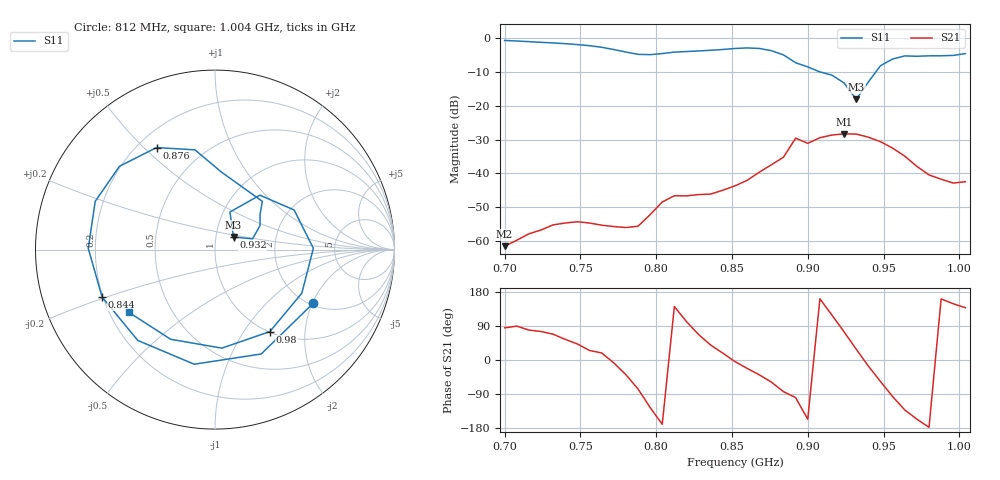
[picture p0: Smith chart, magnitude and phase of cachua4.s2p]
# Hz S RI R 50
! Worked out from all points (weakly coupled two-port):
!   39 points, 700 MHz to 1.004 GHz, reference 50 ohm
!   highest |S21| = -28.31 dB at 924 MHz (marker M1); lowest = -61.5 dB at 700 MHz (marker M2)
!   lowest |S11| = -18.1 dB at 932 MHz (marker M3), VSWR 1.28, Z = 60.9 + j8.62 ohm
!   |S11| at or under -10 dB: 908.4 MHz to 944.9 MHz (36.5 MHz wide, 3.94 % of centre)
!   S12 and S22 are empty: the file has one direction only
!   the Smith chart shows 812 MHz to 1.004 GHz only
!   S11 on the Smith chart (normalised r, x): 812 MHz: 2.08, -2.03; 844 MHz: 0.20, -0.19; 876 MHz: 0.27, +0.55; 932 MHz: 1.22, +0.17; 980 MHz: 1.01, -1.32; 1.004 GHz: 0.28, -0.30
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7e8  0.7627 0.5284  7.65e-05 0.000833  0 0  0 0
7.24e8  0.832 -0.2556  0.000369 0.0014  0 0  0 0
7.4e8  0.4465 -0.7015  0.00107 0.0015  0 0  0 0
7.56e8  -0.1947 -0.7514  0.00167 0.000782  0 0  0 0
7.72e8  -0.654 -0.1921  0.00162 -0.000213  0 0  0 0
7.8e8  -0.5819 0.2279  0.00123 -0.000987  0 0  0 0
7.88e8  -0.2318 0.5298  0.00039 -0.0016  0 0  0 0
7.96e8  0.2537 0.512  -0.00142 -0.002  0 0  0 0
8.04e8  0.5726 0.1573  -0.00371 -0.000676  0 0  0 0
8.12e8  0.5478 -0.2982  -0.00362 0.00293  0 0  0 0
8.28e8  -0.1159 -0.6386  0.00189 0.00447  0 0  0 0
8.44e8  -0.6289 -0.2645  0.00536 0.00174  0 0  0 0
8.52e8  -0.7062 0.00678  0.00652 -0.000485  0 0  0 0
8.76e8  -0.3259 0.5684  0.00702 -0.0114  0 0  0 0
8.92e8  0.0346 0.4328  -0.00532 -0.0328  0 0  0 0
9.08e8  0.251 0.1951  -0.032 0.0107  0 0  0 0
9.24e8  0.2091 0.06  0.0105 0.0369  0 0  0 0
9.32e8  0.1034 0.0697  0.0335 0.0182  0 0  0 0
9.56e8  0.4407 0.2209  -0.00269 -0.0235  0 0  0 0
9.64e8  0.548 0.00731  -0.012 -0.0134  0 0  0 0
9.8e8  0.3058 -0.4566  -0.00948 -0.000398  0 0  0 0
1.004e9  -0.4785 -0.3504  -0.00558 0.00505  0 0  0 0
